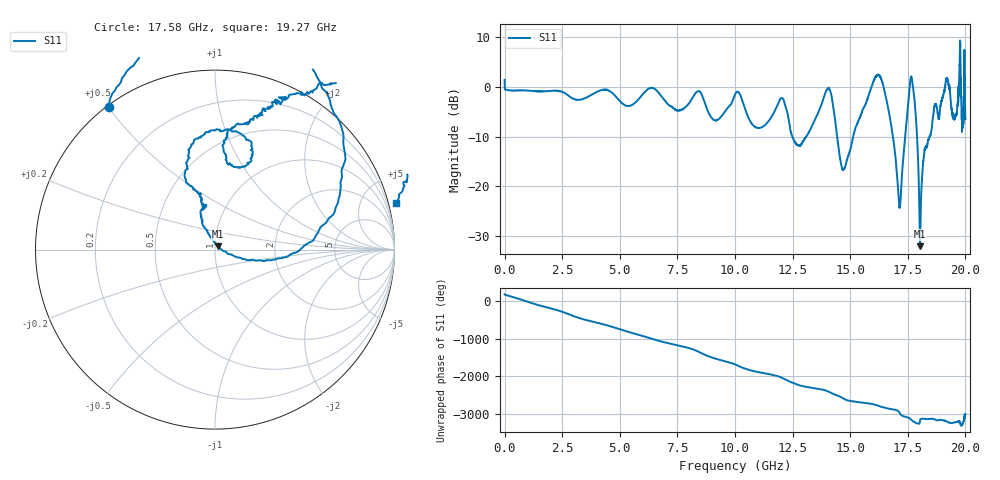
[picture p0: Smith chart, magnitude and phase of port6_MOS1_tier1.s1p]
! Created with skrf 1.8.0 (http://scikit-rf.org).
# GHz S RI R 50.0
!freq ReS11 ImS11
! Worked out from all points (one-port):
!   10001 points, 1 MHz to 20 GHz, reference 50 ohm
!   lowest |S11| = -32.0 dB at 18.03 GHz (marker M1), VSWR 1.05, Z = 51.7 + j1.94 ohm
!   |S11| at or under -10 dB: 12.48 GHz to 13.09 GHz (607.7 MHz wide, 4.75 % of centre); 14.43 GHz to 15.13 GHz (693.3 MHz wide, 4.69 % of centre); 17.9 GHz to 18.44 GHz (538.8 MHz wide, 2.96 % of centre) (the widest 3 of 5)
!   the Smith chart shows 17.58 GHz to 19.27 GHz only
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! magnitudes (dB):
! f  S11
! 1 MHz  1.4
! 2.501 GHz  -1.0
! 5.001 GHz  -2.9
! 6.415 GHz  -0.2
! 7.501 GHz  -4.7
! 8.427 GHz  -0.9
! 9.199 GHz  -6.7
! 10 GHz  -1.5
! 10.99 GHz  -8.3
! 12.05 GHz  -2.3
! 12.5 GHz  -10.2
! 12.9 GHz  -11.4
! 14.05 GHz  -0.3
! 14.65 GHz  -16.2
! 15 GHz  -12.7
! 16.25 GHz  2.3
! 16.73 GHz  -6.4
! 17.15 GHz  -24.1
! 17.5 GHz  -4.3
! 17.62 GHz  1.5
! 17.73 GHz  -0.2
! 18.03 GHz  -32.0
! 18.23 GHz  -12.7
! 18.65 GHz  -4.0
! 19.16 GHz  1.6
! 19.49 GHz  -6.3
! 19.73 GHz  1.9
! 20 GHz  -6.5
